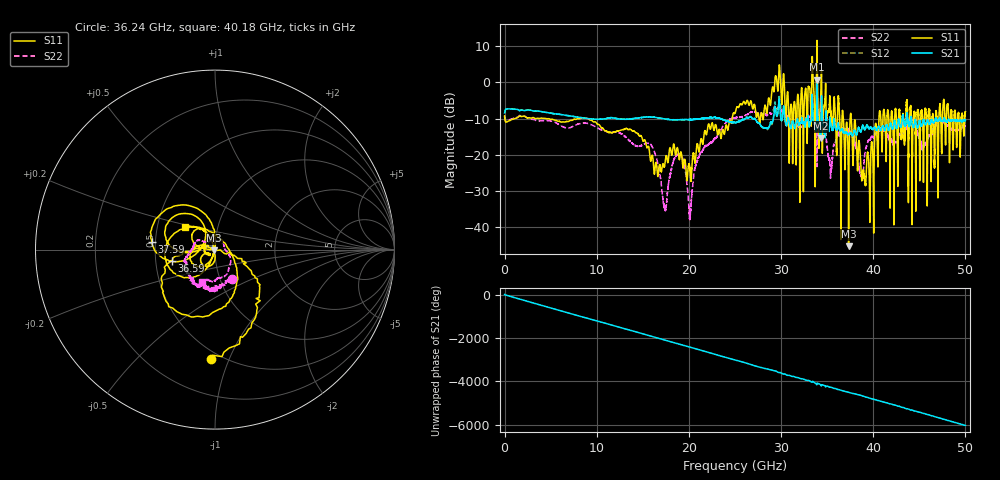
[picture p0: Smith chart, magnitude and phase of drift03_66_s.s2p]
!Created with skrf (http://scikit-rf.org).
# Hz S RI R 50.0
!freq ReS11 ImS11 ReS21 ImS21 ReS12 ImS12 ReS22 ImS22
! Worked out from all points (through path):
!   10001 points, 300 kHz to 50 GHz, reference 50 ohm
!   highest |S21| = 0.75 dB at 33.9 GHz (marker M1); lowest = -15.5 dB at 34.32 GHz (marker M2)
!   group delay of S21, straight-line fit = 335 ps
!   lowest |S11| = -45.3 dB at 37.33 GHz (marker M3), VSWR 1.01, Z = 49.6 - j0.308 ohm
!   |S11| at or under -10 dB: 4.471 GHz to 8.188 GHz (3.717 GHz wide, 58.7 % of centre); 9.017 GHz to 24.7 GHz (15.68 GHz wide, 93 % of centre); 37.62 GHz to 40.62 GHz (3 GHz wide, 7.67 % of centre) (the widest 3 of 60)
!   |S22| runs from -38.0 to -5.9 dB; largest |S21 - S12| = 0.11
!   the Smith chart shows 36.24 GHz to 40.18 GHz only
!   S11 on the Smith chart (normalised r, x): 36.24 GHz: 0.44, -0.86; 36.59 GHz: 0.61, -0.08; 37.59 GHz: 0.48, +0.05; 40.18 GHz: 0.69, +0.19
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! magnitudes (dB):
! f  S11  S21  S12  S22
! 300 kHz  -9.3  -8.5  -8.5  -9.4
! 8.335 GHz  -9.9  -9.8  -9.8  -11.3
! 16.67 GHz  -25.5  -9.8  -9.8  -23.1
! 17.4 GHz  -22.4  -10.1  -10.1  -34.9
! 19.1 GHz  -19.4  -10.3  -10.3  -20.2
! 20.13 GHz  -24.5  -10.3  -10.3  -36.7
! 21.19 GHz  -17.9  -10.1  -10.1  -19.8
! 25 GHz  -8.5  -11.1  -11.1  -9.9
! 29.66 GHz  -2.3  -8.3  -8.4  -7.1
! 31.08 GHz  -6.1  -12.7  -12.7  -10.5
! 33.34 GHz  0.4  -7.5  -7.5  -9.4
! 33.9 GHz  11.6  0.8  0.4  -23.3
! 34.32 GHz  -2.9  -15.5  -14.9  -11.2
! 35.34 GHz  -5.8  -10.4  -9.9  -25.3
! 36.24 GHz  -4.3  -11.7  -11.7  -14.4
! 36.59 GHz  -12.0  -13.1  -13.0  -13.4
! 37.33 GHz  -45.3  -14.4  -14.5  -13.6
! 37.59 GHz  -9.0  -14.0  -13.9  -13.9
! 38.71 GHz  -25.6  -13.4  -13.2  -25.7
! 40.18 GHz  -13.5  -12.5  -12.5  -14.3
! 41.67 GHz  -9.6  -13.2  -13.2  -14.9
! 50 GHz  -8.1  -10.5  -10.6  -12.1
